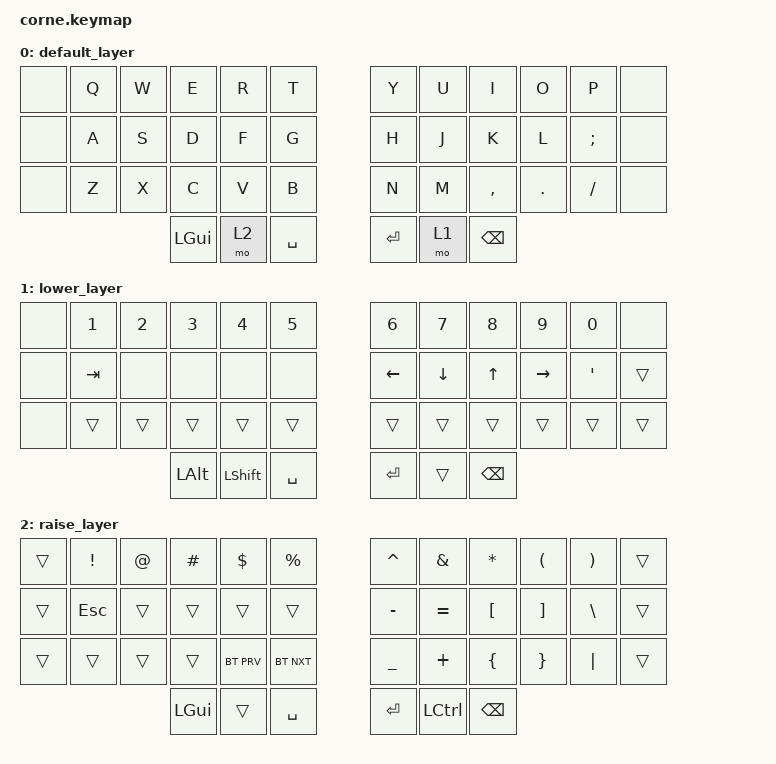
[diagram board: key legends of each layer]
/*
 * Copyright (c) 2020 The ZMK Contributors
 *
 * SPDX-License-Identifier: MIT
 */

#include <behaviors.dtsi>
#include <dt-bindings/zmk/bt.h>
#include <dt-bindings/zmk/keys.h>

/ {
    keymap {
        compatible = "zmk,keymap";

        default_layer {
            // -----------------------------------------------------------------------------------------
            // |  Q  |  W  |  E  |  R  |  T  |   |  Y  |  U   |  I  |  O  |  P  |
            // |  A  |  S  |  D  |  F  |  G  |   |  H  |  J   |  K  |  L  |  ;  |
            // |  Z  |  X  |  C  |  V  |  B  |   |  N  |  M   |  ,  |  .  |  /  |
            //                    | GUI | LWR | SPC |   | ENT | RSE  | ALT |

            bindings = <
&none  &kp Q  &kp W  &kp E     &kp R  &kp T        &kp Y    &kp U  &kp I          &kp O    &kp P     &none
&none  &kp A  &kp S  &kp D     &kp F  &kp G        &kp H    &kp J  &kp K          &kp L    &kp SEMI  &none
&none  &kp Z  &kp X  &kp C     &kp V  &kp B        &kp N    &kp M  &kp COMMA      &kp DOT  &kp FSLH  &none
                     &kp LGUI  &mo 2  &kp SPACE    &kp RET  &mo 1  &kp BACKSPACE
            >;
        };

        lower_layer {
            // -----------------------------------------------------------------------------------------
            // |  1  |  2  |  3  |  4  |  5  |   |  6  |  7  |  8  |  9  |  0  |
            // | BT1 | BT2 | BT3 | BT4 | BT5 |   | LFT | DWN |  UP | RGT |     |
            // |     |     |     |     |     |   |     |     |     |     |     |
            //                    | GUI |     | SPC |   | ENT |     | ALT |

            bindings = <
&none  &kp N1   &kp N2  &kp N3        &kp N4          &kp N5       &kp N6    &kp N7    &kp N8         &kp N9     &kp N0   &none
&none  &kp TAB  &none   &none         &none           &none        &kp LEFT  &kp DOWN  &kp UP         &kp RIGHT  &kp SQT  &trans
&none  &trans   &trans  &trans        &trans          &trans       &trans    &trans    &trans         &trans     &trans   &trans
                        &kp LEFT_ALT  &kp LEFT_SHIFT  &kp SPACE    &kp RET   &trans    &kp BACKSPACE
            >;
        };

        raise_layer {
            // -----------------------------------------------------------------------------------------
            // |  !  |  @  |  #  |  $  |  %  |   |  ^  |  &  |  *  |  (  |  )  |
            // |     |     |     |     |     |   |  -  |  =  |  [  |  ]  |  \  |
            // |     |     |     |     |     |   |  _  |  +  |  {  |  }  | "|" |
            //                    | GUI |     | SPC |   | ENT |     | ALT |

            bindings = <
&trans  &kp EXCL    &kp AT  &kp HASH  &kp DLLR    &kp PRCNT     &kp CARET  &kp AMPS          &kp ASTRK      &kp LPAR  &kp RPAR  &trans
&trans  &kp ESCAPE  &trans  &trans    &trans      &trans        &kp MINUS  &kp EQUAL         &kp LBKT       &kp RBKT  &kp BSLH  &trans
&trans  &trans      &trans  &trans    &bt BT_PRV  &bt BT_NXT    &kp UNDER  &kp PLUS          &kp LBRC       &kp RBRC  &kp PIPE  &trans
                            &kp LGUI  &trans      &kp SPACE     &kp RET    &kp LEFT_CONTROL  &kp BACKSPACE
            >;
        };
    };
};
